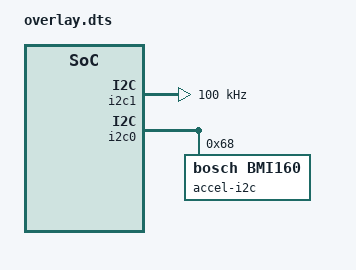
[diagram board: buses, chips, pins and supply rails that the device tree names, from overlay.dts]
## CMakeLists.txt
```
# Copyright 2020 The ChromiumOS Authors
# Use of this source code is governed by a BSD-style license that can be
# found in the LICENSE file.

cmake_minimum_required(VERSION 3.13.1)
find_package(Zephyr REQUIRED HINTS "${ZEPHYR_BASE}")
project(i2c)

target_sources(app PRIVATE src/main.c)

add_subdirectory(${PLATFORM_EC}/zephyr/test/test_utils test_utils)
```

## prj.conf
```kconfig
# Copyright 2020 The ChromiumOS Authors
# Use of this source code is governed by a BSD-style license that can be
# found in the LICENSE file.

CONFIG_ZTEST=y

CONFIG_EMUL=y
CONFIG_EMUL_BMI160=y
CONFIG_SENSOR=y
CONFIG_BMI160_TRIGGER_NONE=y

CONFIG_PLATFORM_EC=y
CONFIG_CROS_EC=y

# TODO(b/173711210) figure out why SPI is required here when we're not using it.
CONFIG_SPI=y
```

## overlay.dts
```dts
/* Copyright 2020 The Chromium OS Authors. All rights reserved.
 * Use of this source code is governed by a BSD-style license that can be
 * found in the LICENSE file.
 */

/ {
	i2c1: i2c@400 {
		status = "okay";
		compatible = "zephyr,i2c-emul-controller";
		clock-frequency = <I2C_BITRATE_STANDARD>;
		#address-cells = <1>;
		#size-cells = <0>;
		reg = <0x400 4>;
		label = "I2C_1";
	};

	named-i2c-ports {
		compatible = "named-i2c-ports";
		accel-0 {
			i2c-port = <&i2c0>;
			enum-name = "I2C_PORT_ACCEL";
		};
		eeprom {
			i2c-port = <&i2c0>;
			enum-name = "I2C_PORT_EEPROM";
		};
		usb-c1 {
			i2c-port = <&i2c1>;
			enum-name = "I2C_PORT_USB_C1";
		};
	};
};

&i2c0 {
	bmi_i2c: bmi@68 {
		compatible = "bosch,bmi160";
		reg = <0x68>;
		label = "accel-i2c";
	};
};
```

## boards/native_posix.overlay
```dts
/* Copyright 2020 The ChromiumOS Authors
 * Use of this source code is governed by a BSD-style license that can be
 * found in the LICENSE file.
 */

#include <board-overlays/native_posix.dts>

/ {
	i2c1: i2c@400 {
		status = "okay";
		compatible = "zephyr,i2c-emul-controller";
		clock-frequency = <I2C_BITRATE_STANDARD>;
		#address-cells = <1>;
		#size-cells = <0>;
		reg = <0x400 4>;
	};

	named-i2c-ports {
		compatible = "named-i2c-ports";
		accel-0 {
			i2c-port = <&i2c0>;
			enum-names = "I2C_PORT_ACCEL",
				"I2C_PORT_EEPROM";
		};
		usb-c1 {
			i2c-port = <&i2c1>;
			enum-names = "I2C_PORT_USB_C1";
		};
	};
};

&i2c0 {
	bmi_i2c: bmi@68 {
		compatible = "bosch,bmi160";
		reg = <0x68>;
	};
};
```

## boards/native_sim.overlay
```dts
/* Copyright 2020 The ChromiumOS Authors
 * Use of this source code is governed by a BSD-style license that can be
 * found in the LICENSE file.
 */

#include <board-overlays/native_sim.dts>

/ {
	i2c1: i2c@400 {
		status = "okay";
		compatible = "zephyr,i2c-emul-controller";
		clock-frequency = <I2C_BITRATE_STANDARD>;
		#address-cells = <1>;
		#size-cells = <0>;
		reg = <0x400 4>;
	};

	named-i2c-ports {
		compatible = "named-i2c-ports";
		accel-0 {
			i2c-port = <&i2c0>;
			enum-names = "I2C_PORT_ACCEL",
				"I2C_PORT_EEPROM";
		};
		usb-c1 {
			i2c-port = <&i2c1>;
			enum-names = "I2C_PORT_USB_C1";
		};
	};
};

&i2c0 {
	bmi_i2c: bmi@68 {
		compatible = "bosch,bmi160";
		reg = <0x68>;
	};
};
```

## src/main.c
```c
/* Copyright 2020 The ChromiumOS Authors
 * Use of this source code is governed by a BSD-style license that can be
 * found in the LICENSE file.
 */

#include "common.h"
#include "i2c.h"
#include "i2c/i2c.h"

#include <zephyr/devicetree.h>
#include <zephyr/ztest.h>

/* Unused: required for shimming i2c. */
void watchdog_reload(void)
{
}

ZTEST_USER(i2c, test_i2c_port_count)
{
	zassert_equal(I2C_PORT_COUNT, 2,
		      "I2C_PORT_COUNT expected to be 2 but was %d",
		      I2C_PORT_COUNT);
}

ZTEST_USER(i2c, test_i2c_lock_invalid_port)
{
	i2c_lock(-1, 1);
	zassert_equal(i2c_port_is_locked(-1), 0,
		      "Negative I2C port locked, but should have failed");

	i2c_lock(INT_MAX, 1);
	zassert_equal(i2c_port_is_locked(INT_MAX), 0,
		      "MAX_INT I2C port locked, but should have failed");
}

ZTEST_USER(i2c, test_i2c_lock)
{
	i2c_lock(I2C_PORT_ACCEL, 1);
	zassert_equal(i2c_port_is_locked(I2C_PORT_EEPROM), 1,
		      "I2C_PORT_EEPROM not locked");
	zassert_equal(i2c_port_is_locked(I2C_PORT_ACCEL), 1,
		      "I2C_PORT_ACCEL not locked");

	/* Unlock different enum pointing the same i2c device */
	i2c_lock(I2C_PORT_EEPROM, 0);
	zassert_equal(i2c_port_is_locked(I2C_PORT_EEPROM), 0,
		      "I2C_PORT_EEPROM not locked");
	zassert_equal(i2c_port_is_locked(I2C_PORT_ACCEL), 0,
		      "I2C_PORT_ACCEL not locked");

	i2c_lock(I2C_PORT_EEPROM, 1);
	/* Verify different i2c device */
	zassert_equal(i2c_port_is_locked(I2C_PORT_USB_C1), 0,
		      "I2C_PORT_USB_C1 locked");

	i2c_lock(I2C_PORT_USB_C1, 1);
	/* Make sure i2c device is locked*/
	zassert_equal(i2c_port_is_locked(I2C_PORT_USB_C1), 1,
		      "I2C_PORT_USB_C1 locked");

	/* Another i2c device is still locked */
	i2c_lock(I2C_PORT_USB_C1, 0);
	zassert_equal(i2c_port_is_locked(I2C_PORT_EEPROM), 1,
		      "I2C_PORT_EEPROM not locked");
	i2c_lock(I2C_PORT_EEPROM, 0);
}

ZTEST_SUITE(i2c, NULL, NULL, NULL, NULL, NULL);
```
